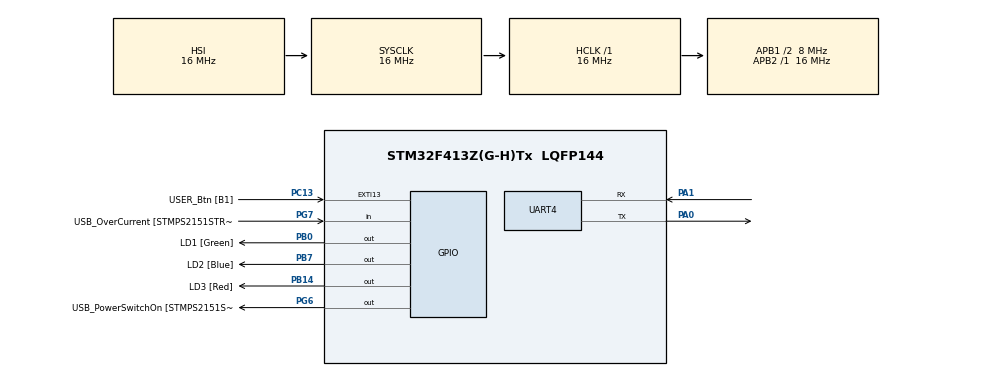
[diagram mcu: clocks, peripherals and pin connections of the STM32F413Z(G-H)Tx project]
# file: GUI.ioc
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Mcu.Family=STM32F4
Mcu.Name=STM32F413Z(G-H)Tx
Mcu.Package=LQFP144
NVIC.PriorityGroup=NVIC_PRIORITYGROUP_4
NVIC.UART4_IRQn=true\:0\:0\:false\:false\:true\:true\:true
PA0.Mode=Asynchronous
PA0.Signal=UART4_TX
PA1.Mode=Asynchronous
PA1.Signal=UART4_RX
PA10.GPIO_Label=USB_ID
PA10.Signal=USB_OTG_FS_ID
PA11.GPIO_Label=USB_DM
PA11.Signal=USB_OTG_FS_DM
PA12.GPIO_Label=USB_DP
PA12.Signal=USB_OTG_FS_DP
PA13.GPIO_Label=TMS
PA13.Mode=Trace_Asynchronous_SW
PA13.Signal=SYS_JTMS-SWDIO
PA14.GPIO_Label=TCK
PA14.Mode=Trace_Asynchronous_SW
PA14.Signal=SYS_JTCK-SWCLK
PA8.GPIO_Label=USB_SOF [TP1]
PA8.Signal=USB_OTG_FS_SOF
PA9.GPIO_Label=USB_VBUS
PA9.Signal=USB_OTG_FS_VBUS
PB0.GPIO_Label=LD1 [Green]
PB0.Signal=GPIO_Output
PB14.GPIO_Label=LD3 [Red]
PB14.Signal=GPIO_Output
PB3.GPIO_Label=SWO
PB3.Mode=Trace_Asynchronous_SW
PB3.Signal=SYS_JTDO-SWO
PB7.GPIO_Label=LD2 [Blue]
PB7.Signal=GPIO_Output
PC13.GPIO_Label=USER_Btn [B1]
PC13.Signal=GPXTI13
PC14-OSC32_IN.Signal=RCC_OSC32_IN
PC15-OSC32_OUT.Signal=RCC_OSC32_OUT
PD8.GPIO_Label=STLK_RX [STM32F103CBT6_PA3]
PD8.Signal=USART3_TX
PD9.GPIO_Label=STLK_TX [STM32F103CBT6_PA2]
PD9.Signal=USART3_RX
PG6.GPIO_Label=USB_PowerSwitchOn [STMPS2151STR_EN]
PG6.Signal=GPIO_Output
PG7.GPIO_Label=USB_OverCurrent [STMPS2151STR_FAULT]
PG7.Signal=GPIO_Input
PH0\ -\ OSC_IN.GPIO_Label=MCO
PH0\ -\ OSC_IN.Signal=RCC_OSC_IN
PH1\ -\ OSC_OUT.Signal=RCC_OSC_OUT
ProjectManager.HeapSize=0x200
ProjectManager.StackSize=0x400
ProjectManager.TargetToolchain=MDK-ARM V5
RCC.48MHZClocksFreq_Value=24000000
RCC.AHBFreq_Value=16000000
RCC.APB1CLKDivider=RCC_HCLK_DIV2
RCC.APB1Freq_Value=8000000
RCC.APB1TimFreq_Value=16000000
RCC.APB2Freq_Value=16000000
RCC.APB2TimFreq_Value=16000000
RCC.CortexFreq_Value=16000000
RCC.HCLKFreq_Value=16000000
RCC.HSE_VALUE=8000000
RCC.HSI_VALUE=16000000
RCC.PLLMUL=RCC_PLL_MUL9
RCC.PRESCALERUSB=RCC_USBCLKSOURCE_PLL_DIV1_5
RCC.SYSCLKFreq_VALUE=16000000
RCC.SYSCLKSourceVirtual=RCC_SYSCLKSOURCE_PLLCLK
RCC.USBFreq_Value=96000000
RCC.VCOOutputFreq_Value=192000000
TIM14.Prescaler=16000-1
UART4.VirtualMode=Asynchronous
VP_TIM14_VS_ClockSourceINT.Mode=Enable_Timer
board=NUCLEO-F413ZH

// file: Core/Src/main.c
/* USER CODE BEGIN Header */
/**
  ******************************************************************************
  * @file           : main.c
  * @brief          : Main program body
  ******************************************************************************
  * @attention
  *
  * <h2><center>&copy; Copyright (c) 2022 STMicroelectronics.
  * All rights reserved.</center></h2>
  *
  * This software component is licensed by ST under BSD 3-Clause license,
  * the "License"; You may not use this file except in compliance with the
  * License. You may obtain a copy of the License at:
  *                        opensource.org/licenses/BSD-3-Clause
  *
  ******************************************************************************
  */
/* USER CODE END Header */
#include "main.h"

TIM_HandleTypeDef htim14;

UART_HandleTypeDef huart4;

/* USER CODE BEGIN PV */
uint8_t dataReceived = 0;
uint8_t dataTransmitted = 0;
/* USER CODE END PV */

void SystemClock_Config(void);
static void MX_GPIO_Init(void);
static void MX_UART4_Init(void);
static void MX_TIM14_Init(void);

/* USER CODE BEGIN 0 */

uint16_t current_time = 0;
uint8_t buf[5];
uint8_t firstByteWait=1;

/* USER CODE END 0 */

int main(void)
{
  /* USER CODE BEGIN 1 */
	uint16_t threshold_time = 10; // ms
	uint32_t per = 65536; // ms
  /* USER CODE END 1 */

  /* MCU Configuration--------------------------------------------------------*/

  /* Reset of all peripherals, Initializes the Flash interface and the Systick. */
  HAL_Init();

  /* Configure the system clock */
  SystemClock_Config();

  /* Initialize all configured peripherals */
  MX_GPIO_Init();
  MX_UART4_Init();
  MX_TIM14_Init();
  /* USER CODE BEGIN 2 */
	HAL_TIM_Base_Start(&htim14);
  /* USER CODE END 2 */

  /* Infinite loop */
  /* USER CODE BEGIN WHILE */
	buf[0]=0;
	firstByteWait=1;
	HAL_UART_Receive_IT (&huart4, buf, 1);

  while (1)
  {
//		if(dataReceived == 1)
//		{
//			if(HAL_GPIO_ReadPin(GPIOC, GPIO_PIN_13))
//			{
//				if((TIM14->CNT + per - current_time)%per > threshold_time)
//				{
//					HAL_UART_Transmit(&huart4, buf, 2, 100);
//					dataReceived = 0;
//					HAL_GPIO_WritePin(GPIOB, GPIO_PIN_7, GPIO_PIN_RESET);
//					buf[0]=0; buf[1]=0; buf[2]=0;
//					firstByteWait=1;
//					HAL_UART_Receive_IT (&huart4, buf, 1);
//				}
//				current_time = TIM14->CNT;
//			}
//			else
//			{
//				if((TIM14->CNT + per - current_time)%per > threshold_time)
//				{
//					HAL_GPIO_WritePin(GPIOB, GPIO_PIN_7, GPIO_PIN_RESET);
//				}
//			}
//		}
    /* USER CODE END WHILE */

  }
}

void SystemClock_Config(void)
{
  RCC_OscInitTypeDef RCC_OscInitStruct = {0};
  RCC_ClkInitTypeDef RCC_ClkInitStruct = {0};

  /** Configure the main internal regulator output voltage
  */
  __HAL_RCC_PWR_CLK_ENABLE();
  __HAL_PWR_VOLTAGESCALING_CONFIG(PWR_REGULATOR_VOLTAGE_SCALE1);
  /** Initializes the RCC Oscillators according to the specified parameters
  * in the RCC_OscInitTypeDef structure.
  */
  RCC_OscInitStruct.OscillatorType = RCC_OSCILLATORTYPE_HSI;
  RCC_OscInitStruct.HSIState = RCC_HSI_ON;
  RCC_OscInitStruct.HSICalibrationValue = RCC_HSICALIBRATION_DEFAULT;
  RCC_OscInitStruct.PLL.PLLState = RCC_PLL_NONE;
  if (HAL_RCC_OscConfig(&RCC_OscInitStruct) != HAL_OK)
  {
    Error_Handler();
  }
  /** Initializes the CPU, AHB and APB buses clocks
  */
  RCC_ClkInitStruct.ClockType = RCC_CLOCKTYPE_HCLK|RCC_CLOCKTYPE_SYSCLK
                              |RCC_CLOCKTYPE_PCLK1|RCC_CLOCKTYPE_PCLK2;
  RCC_ClkInitStruct.SYSCLKSource = RCC_SYSCLKSOURCE_HSI;
  RCC_ClkInitStruct.AHBCLKDivider = RCC_SYSCLK_DIV1;
  RCC_ClkInitStruct.APB1CLKDivider = RCC_HCLK_DIV2;
  RCC_ClkInitStruct.APB2CLKDivider = RCC_HCLK_DIV1;

  if (HAL_RCC_ClockConfig(&RCC_ClkInitStruct, FLASH_LATENCY_0) != HAL_OK)
  {
    Error_Handler();
  }
}

static void MX_TIM14_Init(void)
{

  htim14.Instance = TIM14;
  htim14.Init.Prescaler = 16000-1;
  htim14.Init.CounterMode = TIM_COUNTERMODE_UP;
  htim14.Init.Period = 65535;
  htim14.Init.ClockDivision = TIM_CLOCKDIVISION_DIV1;
  htim14.Init.AutoReloadPreload = TIM_AUTORELOAD_PRELOAD_DISABLE;
  if (HAL_TIM_Base_Init(&htim14) != HAL_OK)
  {
    Error_Handler();
  }

}

static void MX_UART4_Init(void)
{

  huart4.Instance = UART4;
  huart4.Init.BaudRate = 115200;
  huart4.Init.WordLength = UART_WORDLENGTH_8B;
  huart4.Init.StopBits = UART_STOPBITS_1;
  huart4.Init.Parity = UART_PARITY_NONE;
  huart4.Init.Mode = UART_MODE_TX_RX;
  huart4.Init.HwFlowCtl = UART_HWCONTROL_NONE;
  huart4.Init.OverSampling = UART_OVERSAMPLING_16;
  if (HAL_UART_Init(&huart4) != HAL_OK)
  {
    Error_Handler();
  }

}

static void MX_GPIO_Init(void)
{
  GPIO_InitTypeDef GPIO_InitStruct = {0};

  /* GPIO Ports Clock Enable */
  __HAL_RCC_GPIOC_CLK_ENABLE();
  __HAL_RCC_GPIOH_CLK_ENABLE();
  __HAL_RCC_GPIOA_CLK_ENABLE();
  __HAL_RCC_GPIOB_CLK_ENABLE();
  __HAL_RCC_GPIOD_CLK_ENABLE();
  __HAL_RCC_GPIOG_CLK_ENABLE();

  /*Configure GPIO pin Output Level */
  HAL_GPIO_WritePin(GPIOB, LD1_Pin|LD3_Pin|LD2_Pin, GPIO_PIN_RESET);

  /*Configure GPIO pin Output Level */
  HAL_GPIO_WritePin(USB_PowerSwitchOn_GPIO_Port, USB_PowerSwitchOn_Pin, GPIO_PIN_RESET);

  /*Configure GPIO pin : USER_Btn_Pin */
  GPIO_InitStruct.Pin = USER_Btn_Pin;
  GPIO_InitStruct.Mode = GPIO_MODE_IT_RISING;
  GPIO_InitStruct.Pull = GPIO_NOPULL;
  HAL_GPIO_Init(USER_Btn_GPIO_Port, &GPIO_InitStruct);

  /*Configure GPIO pins : LD1_Pin LD3_Pin LD2_Pin */
  GPIO_InitStruct.Pin = LD1_Pin|LD3_Pin|LD2_Pin;
  GPIO_InitStruct.Mode = GPIO_MODE_OUTPUT_PP;
  GPIO_InitStruct.Pull = GPIO_NOPULL;
  GPIO_InitStruct.Speed = GPIO_SPEED_FREQ_LOW;
  HAL_GPIO_Init(GPIOB, &GPIO_InitStruct);

  /*Configure GPIO pins : STLK_RX_Pin STLK_TX_Pin */
  GPIO_InitStruct.Pin = STLK_RX_Pin|STLK_TX_Pin;
  GPIO_InitStruct.Mode = GPIO_MODE_AF_PP;
  GPIO_InitStruct.Pull = GPIO_NOPULL;
  GPIO_InitStruct.Speed = GPIO_SPEED_FREQ_VERY_HIGH;
  GPIO_InitStruct.Alternate = GPIO_AF7_USART3;
  HAL_GPIO_Init(GPIOD, &GPIO_InitStruct);

  /*Configure GPIO pin : USB_PowerSwitchOn_Pin */
  GPIO_InitStruct.Pin = USB_PowerSwitchOn_Pin;
  GPIO_InitStruct.Mode = GPIO_MODE_OUTPUT_PP;
  GPIO_InitStruct.Pull = GPIO_NOPULL;
  GPIO_InitStruct.Speed = GPIO_SPEED_FREQ_LOW;
  HAL_GPIO_Init(USB_PowerSwitchOn_GPIO_Port, &GPIO_InitStruct);

  /*Configure GPIO pin : USB_OverCurrent_Pin */
  GPIO_InitStruct.Pin = USB_OverCurrent_Pin;
  GPIO_InitStruct.Mode = GPIO_MODE_INPUT;
  GPIO_InitStruct.Pull = GPIO_NOPULL;
  HAL_GPIO_Init(USB_OverCurrent_GPIO_Port, &GPIO_InitStruct);

  /*Configure GPIO pins : USB_SOF_Pin USB_ID_Pin USB_DM_Pin USB_DP_Pin */
  GPIO_InitStruct.Pin = USB_SOF_Pin|USB_ID_Pin|USB_DM_Pin|USB_DP_Pin;
  GPIO_InitStruct.Mode = GPIO_MODE_AF_PP;
  GPIO_InitStruct.Pull = GPIO_NOPULL;
  GPIO_InitStruct.Speed = GPIO_SPEED_FREQ_VERY_HIGH;
  GPIO_InitStruct.Alternate = GPIO_AF10_OTG_FS;
  HAL_GPIO_Init(GPIOA, &GPIO_InitStruct);

}

/* USER CODE BEGIN 4 */
//void HAL_UART_RxCpltCallback(UART_HandleTypeDef *huart) {

//  if(huart == &huart4) {
//    if( firstByteWait != 0 ) {
//      firstByteWait=0;
//			dataReceived = 1;
//			HAL_GPIO_WritePin(GPIOB, GPIO_PIN_7, GPIO_PIN_SET);
//      HAL_UART_Receive_IT (&huart4, buf+1, 1);
//    }
//    else {
//
////      if ( (buf[0] == 0x10) && ((buf[0] ^ buf[1] ^ 0xe5) == buf[2]) ) {;
////        HAL_UART_Transmit_IT(&huart4, (uint8_t *)(& par), 12);

////        buf[0]=0; buf[1]=0; buf[2]=0;
////        firstByteWait=1;
////        HAL_UART_Receive_IT (&huart4, buf, 1);
////      }
////      else {
////        buf[0]=0; buf[1]=0; buf[2]=0;
////        firstByteWait=1;
////        HAL_UART_Receive_IT (&huart4, buf, 1);
////      }
////			HAL_UART_Transmit(&huart4, (uint8_t *)buf, 3, 100);
////			buf[0]=0; buf[1]=0; buf[2]=0;
////      firstByteWait=1;
////      HAL_UART_Receive_IT (&huart4, buf, 1);
//    }
//  }
//}

void HAL_UART_RxCpltCallback(UART_HandleTypeDef *huart) {

  if(huart == &huart4) {

    if( firstByteWait != 0 ) {
      firstByteWait=0;
      HAL_UART_Receive_IT (&huart4, buf+1, 4);
			HAL_GPIO_WritePin(GPIOB, GPIO_PIN_7, GPIO_PIN_SET);
    }
    else {
      if (buf[0] == 0xE7) {
        HAL_UART_Transmit_IT(&huart4, buf+1, 4);
				HAL_GPIO_WritePin(GPIOB, GPIO_PIN_7, GPIO_PIN_RESET);

//        buf[0]=0; buf[1]=0; buf[2]=0;
        firstByteWait=1;
        HAL_UART_Receive_IT (&huart4, buf, 1);
      }
      else {
//        buf[0]=0; buf[1]=0; buf[2]=0;
        firstByteWait=1;
        HAL_UART_Receive_IT (&huart4, buf, 1);
      }
    }
  }
}

/* USER CODE END 4 */

void Error_Handler(void)
{
  __disable_irq();
  while (1)
  {
  }
}

/************************ (C) COPYRIGHT STMicroelectronics *****END OF FILE****/
